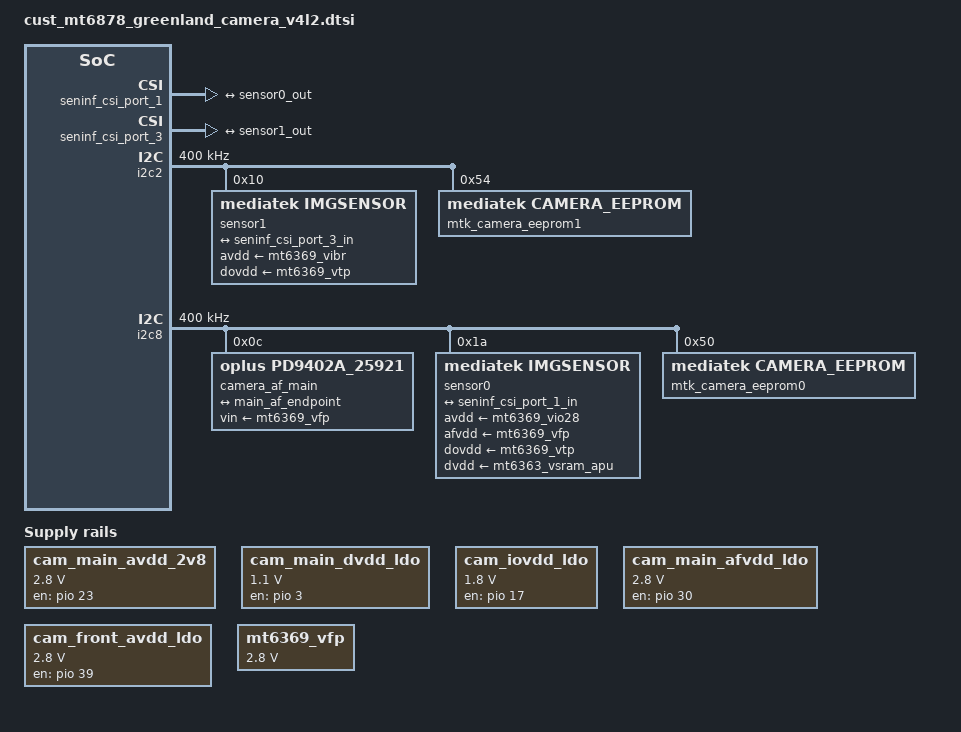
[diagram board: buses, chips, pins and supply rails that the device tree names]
// SPDX-License-Identifier: GPL-2.0
/* Copyright (c) 2020 MediaTek Inc. */
#include <dt-bindings/clock/mt6878-clk.h>

&seninf_top {
		seninf_csi_port_1: seninf-csi-port-1 {
			compatible = "mediatek,seninf";
			csi-port = "1";
#if 0
			nvmem-cells = <&csi_efuse1>;
			nvmem-cell-names = "rg_csi";
#endif
			port {
				seninf_csi_port_1_in: endpoint {
					remote-endpoint = <&sensor0_out>;
				};
			};
		};

		seninf_csi_port_3: seninf-csi-port-3 {
			compatible = "mediatek,seninf";
			csi-port = "3";
#if 0
			nvmem-cells = <&csi_efuse3>;
			nvmem-cell-names = "rg_csi";
#endif
			port {
				seninf_csi_port_3_in: endpoint {
					remote-endpoint = <&sensor1_out>;
				};
			};
		};
};

/* CAMERA GPIO standardization */
&pio {
	camera_pins_cam0_mclk_off: camera-pins-cam0-mclk-off {
		pins-cmd-dat {
			pinmux = <PINMUX_GPIO94__FUNC_GPIO94>;
			drive-strength = <1>;
		};
	};
	camera_pins_cam0_mclk_2ma: camera-pins-cam0-mclk-2ma {
		pins-cmd-dat {
			pinmux = <PINMUX_GPIO94__FUNC_CMMCLK2>;
			drive-strength = <0>;
		};
	};
	camera_pins_cam0_mclk_4ma: camera-pins-cam0-mclk-4ma {
		pins-cmd-dat {
			pinmux = <PINMUX_GPIO94__FUNC_CMMCLK2>;
			drive-strength = <1>;
		};
	};
	camera_pins_cam0_mclk_6ma: camera-pins-cam0-mclk-6ma {
		pins-cmd-dat {
			pinmux = <PINMUX_GPIO94__FUNC_CMMCLK2>;
			drive-strength = <2>;
		};
	};
	camera_pins_cam0_mclk_8ma: camera-pins-cam0-mclk-8ma {
		pins-cmd-dat {
			pinmux = <PINMUX_GPIO94__FUNC_CMMCLK2>;
			drive-strength = <3>;
		};
	};
	camera_pins_cam0_rst_0: cam0@0 {
		pins-cmd-dat {
			pinmux = <PINMUX_GPIO26__FUNC_GPIO26>;
			slew-rate = <1>;
			output-low;
		};
	};
	camera_pins_cam0_rst_1: cam0@1 {
		pins-cmd-dat {
			pinmux = <PINMUX_GPIO26__FUNC_GPIO26>;
			slew-rate = <1>;
			output-high;
		};
	};
	camera_pins_cam0_scl_ap: cam0@2 {
		pins-cmd-dat {
			pinmux = <PINMUX_GPIO141__FUNC_SCL8>;
		};
	};
	camera_pins_cam0_sda_ap: cam0@3 {
		pins-cmd-dat {
			pinmux = <PINMUX_GPIO142__FUNC_SDA8>;
		};
	};
	camera_pins_cam0_dvdd1_0: cam0@4 {
		pins-cmd-dat {
			pinmux = <PINMUX_GPIO3__FUNC_GPIO3>;
			slew-rate = <1>;
			output-low;
		};
	};
	camera_pins_cam0_dvdd1_1: cam0@5 {
		pins-cmd-dat {
			pinmux = <PINMUX_GPIO3__FUNC_GPIO3>;
			slew-rate = <1>;
			output-high;
		};
	};
	camera_pins_cam1_mclk_off: camera-pins-cam1-mclk-off {
		pins-cmd-dat {
			pinmux = <PINMUX_GPIO96__FUNC_GPIO96>;
			drive-strength = <1>;
		};
	};
	camera_pins_cam1_mclk_2ma: camera-pins-cam1-mclk-2ma {
		pins-cmd-dat {
			pinmux = <PINMUX_GPIO96__FUNC_CMMCLK4>;
			drive-strength = <0>;
		};
	};
	camera_pins_cam1_mclk_4ma: camera-pins-cam1-mclk-4ma {
		pins-cmd-dat {
			pinmux = <PINMUX_GPIO96__FUNC_CMMCLK4>;
			drive-strength = <1>;
		};
	};
	camera_pins_cam1_mclk_6ma: camera-pins-cam1-mclk-6ma {
		pins-cmd-dat {
			pinmux = <PINMUX_GPIO96__FUNC_CMMCLK4>;
			drive-strength = <2>;
		};
	};
	camera_pins_cam1_mclk_8ma: camera-pins-cam1-mclk-8ma {
		pins-cmd-dat {
			pinmux = <PINMUX_GPIO96__FUNC_CMMCLK4>;
			drive-strength = <3>;
		};
	};
	camera_pins_cam1_rst_0: cam1@0 {
		pins-cmd-dat {
			pinmux = <PINMUX_GPIO28__FUNC_GPIO28>;
			slew-rate = <1>;
			output-low;
		};
	};
	camera_pins_cam1_rst_1: cam1@1 {
		pins-cmd-dat {
			pinmux = <PINMUX_GPIO28__FUNC_GPIO28>;
			slew-rate = <1>;
			output-high;
		};
	};
	camera_pins_cam1_scl_ap: cam1@2 {
		pins-cmd-dat {
			pinmux = <PINMUX_GPIO129__FUNC_SCL2>;
		};
	};
	camera_pins_cam1_sda_ap: cam1@3 {
		pins-cmd-dat {
			pinmux = <PINMUX_GPIO130__FUNC_SDA2>;
		};
	};
	camera_pins_cam1_dvdd_0: cam1@4 {
		pins-cmd-dat {
			pinmux = <PINMUX_GPIO4__FUNC_GPIO4>;
			slew-rate = <1>;
			output-low;
		};
	};
	camera_pins_cam1_dvdd_1: cam1@5 {
		pins-cmd-dat {
			pinmux = <PINMUX_GPIO4__FUNC_GPIO4>;
			slew-rate = <1>;
			output-high;
		};
	};
	camera_pins_default: camdefault {
	};
};
/* CAMERA GPIO end */


&odm {
	cam_main_avdd_2v8: gpio23-fixed {
		compatible = "regulator-fixed";
		regulator-name = "vcama_gpio_regulator";
		regulator-min-microvolt = <2800000>;
		regulator-max-microvolt = <2800000>;
		enable-active-high;
		gpio = <&pio 23 0x0>;
	};
	cam_main_dvdd_ldo: gpio3-fixed {
		compatible = "regulator-fixed";
		regulator-name = "vcamd_gpio_regulator";
		regulator-min-microvolt = <1100000>;
		regulator-max-microvolt = <1100000>;
		enable-active-high;
		gpio = <&pio 3 0x0>;
	};
	cam_iovdd_ldo: gpio17-fixed {
		compatible = "regulator-fixed";
		regulator-name = "vcamio_gpio_regulator";
		regulator-min-microvolt = <1800000>;
		regulator-max-microvolt = <1800000>;
		enable-active-high;
		gpio = <&pio 17 0x0>;
	};
	cam_main_afvdd_ldo: gpio30-fixed {
		compatible = "regulator-fixed";
		regulator-name = "vcamaf_gpio_regulator";
		regulator-min-microvolt = <2800000>;
		regulator-max-microvolt = <2800000>;
		enable-active-high;
		gpio = <&pio 30 0x0>;
	};
	cam_front_avdd_ldo: gpio39-fixed {
		compatible = "regulator-fixed";
		regulator-name = "vcama_gpio_regulator";
		regulator-min-microvolt = <2800000>;
		regulator-max-microvolt = <2800000>;
		enable-active-high;
		gpio = <&pio 39 0x0>;
	};
};

&mtk_composite_v4l2_2 {
	#address-cells = <1>;
	#size-cells = <0>;
	port@0 {
		reg = <0>;
		main_af_endpoint: endpoint {
			remote-endpoint = <&main_af>;
		};
	};

};

//front
&i2c2 {
	status = "okay";
	clock-frequency = <400000>;

	sensor1: sensor1@10 {
		compatible = "mediatek,imgsensor";
		sensor-names = "greenlandfront_mipi_raw";
		reg = <0x10>;
		#reindex-to = <0>;
		#cust-aov-csi-clk = <312>;
		#thermal-sensor-cells = <0>;

		pinctrl-names = "mclk_off",
				"mclk_2mA",
				"mclk_4mA",
				"mclk_6mA",
				"mclk_8mA",
				"rst_low",
				"rst_high",
				"scl_ap",
				"sda_ap",
				"dvdd_off",
				"dvdd_on";

		pinctrl-0 = <&camera_pins_cam1_mclk_off>;
		pinctrl-1 = <&camera_pins_cam1_mclk_2ma>;
		pinctrl-2 = <&camera_pins_cam1_mclk_4ma>;
		pinctrl-3 = <&camera_pins_cam1_mclk_6ma>;
		pinctrl-4 = <&camera_pins_cam1_mclk_8ma>;
		pinctrl-5 = <&camera_pins_cam1_rst_0>;
		pinctrl-6 = <&camera_pins_cam1_rst_1>;
		pinctrl-7 = <&camera_pins_cam1_scl_ap>;
		pinctrl-8 = <&camera_pins_cam1_sda_ap>;
		pinctrl-9 = <&camera_pins_cam1_dvdd_0>;
		pinctrl-10 = <&camera_pins_cam1_dvdd_1>;

		//avdd-supply = <&cam_front_avdd_ldo>;
		//dvdd-supply = <&cam_front_dvdd_ldo>;
		//dovdd-supply = <&cam_iovdd_ldo>;

		avdd-supply = <&mt6369_vibr>;
		dovdd-supply = <&mt6369_vtp>;

		clocks = <&topckgen_clk CLK_TOP_UVPLL192M_D32>,
			<&topckgen_clk CLK_TOP_UVPLL192M_D16>,
			<&topckgen_clk CLK_TOP_OSC_D20>,
			<&topckgen_clk CLK_TOP_UVPLL192M_D10>,
			<&topckgen_clk CLK_TOP_UVPLL192M_D8>,
			<&topckgen_clk CLK_TOP_TCK_26M_MX9>,
			<&topckgen_clk CLK_TOP_UNIVPLL_D6_D8>,
			<&topckgen_clk CLK_TOP_CAMTG5_SEL>;
		clock-names = "6", "12", "13", "19.2", "24", "26", "52", "mclk";


		status = "okay";
		port {
			sensor1_out: endpoint {
				remote-endpoint = <&seninf_csi_port_3_in>;
			};
		};
	};
    mtk_camera_eeprom1:camera-eeprom1@54 {
		compatible = "mediatek,camera_eeprom";
		reg = <0x54>;
		status = "okay";
	};

};

//main
&i2c8 {
	status = "okay";
	clock-frequency = <400000>;

	camera_af_main@0c {
		compatible = "oplus,pd9402a_25921";
		reg = <0x0c>;
		vin-supply = <&mt6369_vfp>;
		port {
			main_af: endpoint {
				remote-endpoint = <&main_af_endpoint>;
			};
		};
	};

	sensor0: sensor0@1a {
		compatible = "mediatek,imgsensor";
		sensor-names = "greenlandmain_mipi_raw";
		reg = <0x1a>;

		#thermal-sensor-cells = <0>;
		pinctrl-names = "mclk_off",
				"mclk_2mA",
				"mclk_4mA",
				"mclk_6mA",
				"mclk_8mA",
				"rst_low",
				"rst_high",
				"scl_ap",
				"sda_ap",
				"dvdd1_off",
				"dvdd1_on";

		pinctrl-0 = <&camera_pins_cam0_mclk_off>;
		pinctrl-1 = <&camera_pins_cam0_mclk_2ma>;
		pinctrl-2 = <&camera_pins_cam0_mclk_4ma>;
		pinctrl-3 = <&camera_pins_cam0_mclk_6ma>;
		pinctrl-4 = <&camera_pins_cam0_mclk_8ma>;
		pinctrl-5 = <&camera_pins_cam0_rst_0>;
		pinctrl-6 = <&camera_pins_cam0_rst_1>;
		pinctrl-7 = <&camera_pins_cam0_scl_ap>;
		pinctrl-8 = <&camera_pins_cam0_sda_ap>;
		pinctrl-9 = <&camera_pins_cam0_dvdd1_0>;
		pinctrl-10 = <&camera_pins_cam0_dvdd1_1>;

		//avdd-supply = <&cam_main_avdd_2v8>;
		//afvdd-supply = <&cam_main_afvdd_ldo>;
		//dovdd-supply = <&cam_iovdd_ldo>;
		//dvdd-supply = <&cam_main_dvdd_ldo>;

		avdd-supply = <&mt6369_vio28>;
		afvdd-supply = <&mt6369_vfp>;
		dovdd-supply = <&mt6369_vtp>;
		dvdd-supply = <&mt6363_vsram_apu>;

		clocks = <&topckgen_clk CLK_TOP_UVPLL192M_D32>,
			<&topckgen_clk CLK_TOP_UVPLL192M_D16>,
			<&topckgen_clk CLK_TOP_OSC_D20>,
			<&topckgen_clk CLK_TOP_UVPLL192M_D10>,
			<&topckgen_clk CLK_TOP_UVPLL192M_D8>,
			<&topckgen_clk CLK_TOP_TCK_26M_MX9>,
			<&topckgen_clk CLK_TOP_UNIVPLL_D6_D8>,
			<&topckgen_clk CLK_TOP_CAMTG3_SEL>;
		clock-names = "6", "12", "13", "19.2", "24", "26", "52", "mclk";


		status = "okay";
		port {
			sensor0_out: endpoint {
				remote-endpoint = <&seninf_csi_port_1_in>;
			};
		};
	};

	mtk_camera_eeprom0:camera-eeprom0@50 {
		compatible = "mediatek,camera_eeprom";
		reg = <0x50>;
		status = "okay";
	};
};

&thermal_zones {
	camera0: camera0 {
		polling-delay = <0>; /* milliseconds */
		polling-delay-passive = <0>; /* milliseconds */
		thermal-sensors = <&sensor0>;
		trips {
			camera0_crit: camera0-crit {
				temperature = <120000>;
				hysteresis = <2000>;
				type = "passive";
			};
		};
	};
	camera1: camera1 {
		polling-delay = <0>; /* milliseconds */
		polling-delay-passive = <0>; /* milliseconds */
		thermal-sensors = <&sensor1>;
		trips {
			camera1_crit: camera1-crit {
				temperature = <120000>;
				hysteresis = <2000>;
				type = "passive";
			};
		};
	};
};

&mt6369_vfp {
        /delete-property/ regulator-always-on;
        regulator-min-microvolt = <2800000>;
        regulator-max-microvolt = <2800000>;
};
